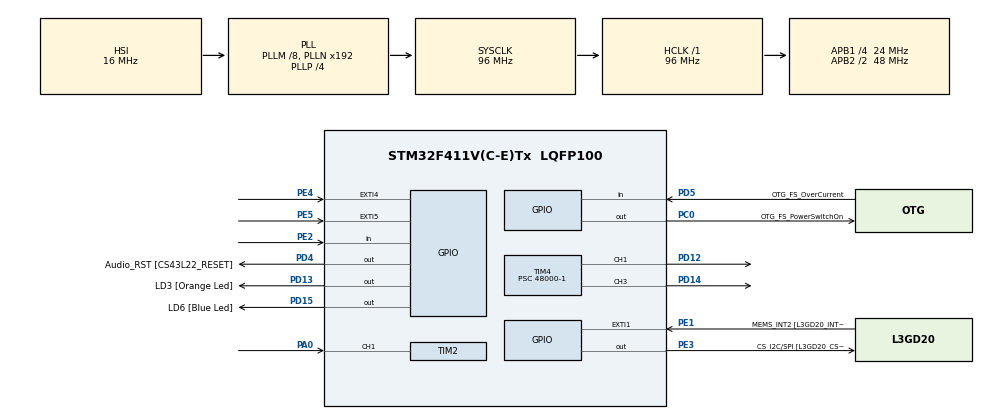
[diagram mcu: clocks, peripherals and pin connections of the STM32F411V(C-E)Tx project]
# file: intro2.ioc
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Mcu.Family=STM32F4
Mcu.Name=STM32F411V(C-E)Tx
Mcu.Package=LQFP100
NVIC.PriorityGroup=NVIC_PRIORITYGROUP_0
NVIC.TIM2_IRQn=true\:0\:0\:false\:false\:true\:true\:true\:true
NVIC.TIM4_IRQn=true\:0\:0\:false\:false\:true\:true\:true\:true
PA0-WKUP.Signal=S_TIM2_CH1_ETR
PA10.GPIO_Label=OTG_FS_ID
PA10.Signal=USB_OTG_FS_ID
PA11.GPIO_Label=OTG_FS_DM
PA11.Signal=USB_OTG_FS_DM
PA12.GPIO_Label=OTG_FS_DP
PA12.Signal=USB_OTG_FS_DP
PA13.GPIO_Label=SWDIO
PA13.Signal=SYS_JTMS-SWDIO
PA14.GPIO_Label=SWCLK
PA14.Signal=SYS_JTCK-SWCLK
PA4.GPIO_Label=I2S3_WS [CS43L22_LRCK]
PA4.GPIO_Mode=GPIO_MODE_AF_PP
PA4.GPIO_PuPd=GPIO_NOPULL
PA4.GPIO_Speed=GPIO_SPEED_FREQ_LOW
PA4.Signal=I2S3_WS
PA5.GPIO_Label=SPI1_SCK [L3GD20_SC/SPC]
PA5.Signal=SPI1_SCK
PA6.GPIO_Label=SPI1_MISO [L3GD20_AS0/SDO]
PA6.Signal=SPI1_MISO
PA7.GPIO_Label=SPI1_MOSI [L3GD20_SDA/SDI/SDO]
PA7.Signal=SPI1_MOSI
PA9.GPIO_Label=VBUS_FS
PA9.Signal=USB_OTG_FS_VBUS
PB10.GPIO_Label=CLK_IN [MP45DT02_CLK]
PB10.Signal=I2S2_CK
PB12.Signal=I2S2_WS
PB3.GPIO_Label=SWO
PB3.Signal=SYS_JTDO-SWO
PB6.GPIO_Label=Audio_SCL [CS43L22_SCL]
PB6.GPIO_Mode=GPIO_MODE_AF_OD
PB6.GPIO_PuPd=GPIO_NOPULL
PB6.GPIO_Speed=GPIO_SPEED_FREQ_LOW
PB6.Signal=I2C1_SCL
PB9.GPIO_Label=Audio_SDA [CS43L22_SDA]
PB9.GPIO_Mode=GPIO_MODE_AF_OD
PB9.GPIO_PuPd=GPIO_NOPULL
PB9.GPIO_Speed=GPIO_SPEED_FREQ_LOW
PB9.Signal=I2C1_SDA
PC0.GPIO_Label=OTG_FS_PowerSwitchOn
PC0.PinState=GPIO_PIN_SET
PC0.Signal=GPIO_Output
PC10.GPIO_Label=I2S3_SCK [CS43L22_SCLK]
PC10.GPIO_Mode=GPIO_MODE_AF_PP
PC10.GPIO_PuPd=GPIO_NOPULL
PC10.GPIO_Speed=GPIO_SPEED_FREQ_LOW
PC10.Signal=I2S3_CK
PC12.GPIO_Label=I2S3_SD [CS43L22_SDIN]
PC12.GPIO_Mode=GPIO_MODE_AF_PP
PC12.GPIO_PuPd=GPIO_NOPULL
PC12.GPIO_Speed=GPIO_SPEED_FREQ_LOW
PC12.Signal=I2S3_SD
PC14-OSC32_IN.GPIO_Label=PC14-OSC32_IN
PC14-OSC32_IN.Signal=RCC_OSC32_IN
PC15-OSC32_OUT.GPIO_Label=PC15-OSC32_OUT
PC15-OSC32_OUT.Signal=RCC_OSC32_OUT
PC3.GPIO_Label=PDM_OUT [MP45DT02_DOUT]
PC3.Signal=I2S2_SD
PC7.GPIO_Label=I2S3_MCK [CS43L22_MCLK]
PC7.GPIO_Mode=GPIO_MODE_AF_PP
PC7.GPIO_PuPd=GPIO_NOPULL
PC7.GPIO_Speed=GPIO_SPEED_FREQ_LOW
PC7.Signal=I2S3_MCK
PD12.Signal=S_TIM4_CH1
PD13.GPIO_Label=LD3 [Orange Led]
PD13.GPIO_PuPd=GPIO_NOPULL
PD13.GPIO_Speed=GPIO_SPEED_FREQ_LOW
PD13.Signal=GPIO_Output
PD14.Signal=S_TIM4_CH3
PD15.GPIO_Label=LD6 [Blue Led]
PD15.GPIO_PuPd=GPIO_NOPULL
PD15.GPIO_Speed=GPIO_SPEED_FREQ_LOW
PD15.Signal=GPIO_Output
PD4.GPIO_Label=Audio_RST [CS43L22_RESET]
PD4.Signal=GPIO_Output
PD5.GPIO_Label=OTG_FS_OverCurrent
PD5.Signal=GPIO_Input
PE1.GPIO_Label=MEMS_INT2 [L3GD20_INT2]
PE1.GPIO_ModeDefaultEXTI=GPIO_MODE_EVT_RISING
PE1.Signal=GPXTI1
PE2.Signal=GPIO_Input
PE3.GPIO_Label=CS_I2C/SPI [L3GD20_CS_I2C/SPI]
PE3.Signal=GPIO_Output
PE4.GPIO_ModeDefaultEXTI=GPIO_MODE_EVT_RISING
PE4.Signal=GPXTI4
PE5.GPIO_ModeDefaultEXTI=GPIO_MODE_EVT_RISING
PE5.Signal=GPXTI5
PH0\ -\ OSC_IN.GPIO_Label=PH0-OSC_IN
PH0\ -\ OSC_IN.Signal=RCC_OSC_IN
PH1\ -\ OSC_OUT.GPIO_Label=PH1-OSC_OUT
PH1\ -\ OSC_OUT.Signal=RCC_OSC_OUT
ProjectManager.HeapSize=0x200
ProjectManager.StackSize=0x400
ProjectManager.TargetToolchain=STM32CubeIDE
RCC.48MHZClocksFreq_Value=48000000
RCC.AHBFreq_Value=96000000
RCC.APB1CLKDivider=RCC_HCLK_DIV4
RCC.APB1Freq_Value=24000000
RCC.APB1TimFreq_Value=48000000
RCC.APB2CLKDivider=RCC_HCLK_DIV2
RCC.APB2Freq_Value=48000000
RCC.APB2TimFreq_Value=96000000
RCC.CortexFreq_Value=96000000
RCC.HCLKFreq_Value=96000000
RCC.HSE_VALUE=8000000
RCC.HSI_VALUE=16000000
RCC.LSE_VALUE=32768
RCC.PLLI2SM=5
RCC.PLLI2SN=200
RCC.PLLM=8
RCC.PLLP=RCC_PLLP_DIV4
RCC.PLLQ=8
RCC.SYSCLKFreq_VALUE=96000000
RCC.SYSCLKSource=RCC_SYSCLKSOURCE_PLLCLK
RCC.VCOOutputFreq_Value=384000000
SH.S_TIM2_CH1_ETR.0=TIM2_CH1,Input_Capture1_from_TI1
SH.S_TIM4_CH1.0=TIM4_CH1,Output Compare1 CH1
SH.S_TIM4_CH3.0=TIM4_CH3,PWM Generation3 CH3
TIM2.Channel-Input_Capture1_from_TI1=TIM_CHANNEL_1
TIM2.ICFilter_CH1=15
TIM2.ICPolarity_CH1=TIM_INPUTCHANNELPOLARITY_BOTHEDGE
TIM2.Period=10000
TIM2.Prescaler=48000-1
TIM4.AutoReloadPreload=TIM_AUTORELOAD_PRELOAD_ENABLE
TIM4.Channel-Output\ Compare1\ CH1=TIM_CHANNEL_1
TIM4.Channel-PWM\ Generation3\ CH3=TIM_CHANNEL_3
TIM4.OC1Preload=DISABLE
TIM4.OCMode_1=TIM_OCMODE_ACTIVE
TIM4.OCPolarity_1=TIM_OCPOLARITY_HIGH
TIM4.Period=1000
TIM4.Prescaler=48000-1
TIM4.Pulse-Output\ Compare1\ CH1=250
TIM4.Pulse-PWM\ Generation3\ CH3=250
VP_TIM2_VS_ClockSourceINT.Mode=Internal
VP_TIM4_VS_ClockSourceINT.Mode=Internal
board=STM32F411E-DISCO

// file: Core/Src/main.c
/* USER CODE BEGIN Header */
/**
  ******************************************************************************
  * @file           : main.c
  * @brief          : Main program body
  ******************************************************************************
  * @attention
  * 	THE PROGRAMME RETURNS BUTTON PRESS TIME IN ms
  *
  * Copyright (c) 2024 STMicroelectronics.
  * All rights reserved.
  *
  * This software is licensed under terms that can be found in the LICENSE file
  * in the root directory of this software component.
  * If no LICENSE file comes with this software, it is provided AS-IS.
  *
  ******************************************************************************
  */
/* USER CODE END Header */
#include "main.h"

/* USER CODE BEGIN Includes */
#include <stdio.h>
/* USER CODE END Includes */

TIM_HandleTypeDef htim2;
TIM_HandleTypeDef htim4;

void SystemClock_Config(void);
static void MX_GPIO_Init(void);
static void MX_TIM4_Init(void);
static void MX_TIM2_Init(void);
/* USER CODE BEGIN PFP */
extern void initialise_monitor_handles(void);
/* USER CODE END PFP */

int main(void)
{

  /* USER CODE BEGIN 1 */
	initialise_monitor_handles();
printf("test\n");
  /* USER CODE END 1 */

  /* MCU Configuration--------------------------------------------------------*/

  /* Reset of all peripherals, Initializes the Flash interface and the Systick. */
  HAL_Init();

  /* Configure the system clock */
  SystemClock_Config();

  /* Initialize all configured peripherals */
  MX_GPIO_Init();
  MX_TIM4_Init();
  MX_TIM2_Init();
  /* USER CODE BEGIN 2 */
  	  HAL_TIM_Base_Start_IT(&htim4);
  	  HAL_TIM_OC_Start(&htim4, TIM_CHANNEL_1);
  	  HAL_TIM_PWM_Start_IT(&htim4, TIM_CHANNEL_3);
  	  HAL_TIM_IC_Start_IT(&htim2, TIM_CHANNEL_1);

  /* USER CODE END 2 */

  /* Infinite loop */
  while (1)
  {

  }
}

void SystemClock_Config(void)
{
  RCC_OscInitTypeDef RCC_OscInitStruct = {0};
  RCC_ClkInitTypeDef RCC_ClkInitStruct = {0};

  /** Configure the main internal regulator output voltage
  */
  __HAL_RCC_PWR_CLK_ENABLE();
  __HAL_PWR_VOLTAGESCALING_CONFIG(PWR_REGULATOR_VOLTAGE_SCALE1);

  /** Initializes the RCC Oscillators according to the specified parameters
  * in the RCC_OscInitTypeDef structure.
  */
  RCC_OscInitStruct.OscillatorType = RCC_OSCILLATORTYPE_HSI;
  RCC_OscInitStruct.HSIState = RCC_HSI_ON;
  RCC_OscInitStruct.HSICalibrationValue = RCC_HSICALIBRATION_DEFAULT;
  RCC_OscInitStruct.PLL.PLLState = RCC_PLL_ON;
  RCC_OscInitStruct.PLL.PLLSource = RCC_PLLSOURCE_HSI;
  RCC_OscInitStruct.PLL.PLLM = 8;
  RCC_OscInitStruct.PLL.PLLN = 192;
  RCC_OscInitStruct.PLL.PLLP = RCC_PLLP_DIV4;
  RCC_OscInitStruct.PLL.PLLQ = 8;
  if (HAL_RCC_OscConfig(&RCC_OscInitStruct) != HAL_OK)
  {
    Error_Handler();
  }

  /** Initializes the CPU, AHB and APB buses clocks
  */
  RCC_ClkInitStruct.ClockType = RCC_CLOCKTYPE_HCLK|RCC_CLOCKTYPE_SYSCLK
                              |RCC_CLOCKTYPE_PCLK1|RCC_CLOCKTYPE_PCLK2;
  RCC_ClkInitStruct.SYSCLKSource = RCC_SYSCLKSOURCE_PLLCLK;
  RCC_ClkInitStruct.AHBCLKDivider = RCC_SYSCLK_DIV1;
  RCC_ClkInitStruct.APB1CLKDivider = RCC_HCLK_DIV4;
  RCC_ClkInitStruct.APB2CLKDivider = RCC_HCLK_DIV2;

  if (HAL_RCC_ClockConfig(&RCC_ClkInitStruct, FLASH_LATENCY_3) != HAL_OK)
  {
    Error_Handler();
  }
}

static void MX_TIM2_Init(void)
{

  TIM_ClockConfigTypeDef sClockSourceConfig = {0};
  TIM_MasterConfigTypeDef sMasterConfig = {0};
  TIM_IC_InitTypeDef sConfigIC = {0};

  htim2.Instance = TIM2;
  htim2.Init.Prescaler = 48000-1;
  htim2.Init.CounterMode = TIM_COUNTERMODE_UP;
  htim2.Init.Period = 10000;
  htim2.Init.ClockDivision = TIM_CLOCKDIVISION_DIV1;
  htim2.Init.AutoReloadPreload = TIM_AUTORELOAD_PRELOAD_DISABLE;
  if (HAL_TIM_Base_Init(&htim2) != HAL_OK)
  {
    Error_Handler();
  }
  sClockSourceConfig.ClockSource = TIM_CLOCKSOURCE_INTERNAL;
  if (HAL_TIM_ConfigClockSource(&htim2, &sClockSourceConfig) != HAL_OK)
  {
    Error_Handler();
  }
  if (HAL_TIM_IC_Init(&htim2) != HAL_OK)
  {
    Error_Handler();
  }
  sMasterConfig.MasterOutputTrigger = TIM_TRGO_RESET;
  sMasterConfig.MasterSlaveMode = TIM_MASTERSLAVEMODE_DISABLE;
  if (HAL_TIMEx_MasterConfigSynchronization(&htim2, &sMasterConfig) != HAL_OK)
  {
    Error_Handler();
  }
  sConfigIC.ICPolarity = TIM_INPUTCHANNELPOLARITY_BOTHEDGE;
  sConfigIC.ICSelection = TIM_ICSELECTION_DIRECTTI;
  sConfigIC.ICPrescaler = TIM_ICPSC_DIV1;
  sConfigIC.ICFilter = 15;
  if (HAL_TIM_IC_ConfigChannel(&htim2, &sConfigIC, TIM_CHANNEL_1) != HAL_OK)
  {
    Error_Handler();
  }

}

static void MX_TIM4_Init(void)
{

  TIM_ClockConfigTypeDef sClockSourceConfig = {0};
  TIM_MasterConfigTypeDef sMasterConfig = {0};
  TIM_OC_InitTypeDef sConfigOC = {0};

  htim4.Instance = TIM4;
  htim4.Init.Prescaler = 48000-1;
  htim4.Init.CounterMode = TIM_COUNTERMODE_UP;
  htim4.Init.Period = 1000;
  htim4.Init.ClockDivision = TIM_CLOCKDIVISION_DIV1;
  htim4.Init.AutoReloadPreload = TIM_AUTORELOAD_PRELOAD_ENABLE;
  if (HAL_TIM_Base_Init(&htim4) != HAL_OK)
  {
    Error_Handler();
  }
  sClockSourceConfig.ClockSource = TIM_CLOCKSOURCE_INTERNAL;
  if (HAL_TIM_ConfigClockSource(&htim4, &sClockSourceConfig) != HAL_OK)
  {
    Error_Handler();
  }
  if (HAL_TIM_OC_Init(&htim4) != HAL_OK)
  {
    Error_Handler();
  }
  if (HAL_TIM_PWM_Init(&htim4) != HAL_OK)
  {
    Error_Handler();
  }
  sMasterConfig.MasterOutputTrigger = TIM_TRGO_RESET;
  sMasterConfig.MasterSlaveMode = TIM_MASTERSLAVEMODE_DISABLE;
  if (HAL_TIMEx_MasterConfigSynchronization(&htim4, &sMasterConfig) != HAL_OK)
  {
    Error_Handler();
  }
  sConfigOC.OCMode = TIM_OCMODE_ACTIVE;
  sConfigOC.Pulse = 250;
  sConfigOC.OCPolarity = TIM_OCPOLARITY_HIGH;
  sConfigOC.OCFastMode = TIM_OCFAST_DISABLE;
  if (HAL_TIM_OC_ConfigChannel(&htim4, &sConfigOC, TIM_CHANNEL_1) != HAL_OK)
  {
    Error_Handler();
  }
  sConfigOC.OCMode = TIM_OCMODE_PWM1;
  if (HAL_TIM_PWM_ConfigChannel(&htim4, &sConfigOC, TIM_CHANNEL_3) != HAL_OK)
  {
    Error_Handler();
  }
  HAL_TIM_MspPostInit(&htim4);

}

static void MX_GPIO_Init(void)
{
  GPIO_InitTypeDef GPIO_InitStruct = {0};

  /* GPIO Ports Clock Enable */
  __HAL_RCC_GPIOE_CLK_ENABLE();
  __HAL_RCC_GPIOC_CLK_ENABLE();
  __HAL_RCC_GPIOH_CLK_ENABLE();
  __HAL_RCC_GPIOA_CLK_ENABLE();
  __HAL_RCC_GPIOB_CLK_ENABLE();
  __HAL_RCC_GPIOD_CLK_ENABLE();

  /*Configure GPIO pin Output Level */
  HAL_GPIO_WritePin(CS_I2C_SPI_GPIO_Port, CS_I2C_SPI_Pin, GPIO_PIN_RESET);

  /*Configure GPIO pin Output Level */
  HAL_GPIO_WritePin(OTG_FS_PowerSwitchOn_GPIO_Port, OTG_FS_PowerSwitchOn_Pin, GPIO_PIN_SET);

  /*Configure GPIO pin Output Level */
  HAL_GPIO_WritePin(GPIOD, LD3_Pin|LD6_Pin|Audio_RST_Pin, GPIO_PIN_RESET);

  /*Configure GPIO pin : PE2 */
  GPIO_InitStruct.Pin = GPIO_PIN_2;
  GPIO_InitStruct.Mode = GPIO_MODE_INPUT;
  GPIO_InitStruct.Pull = GPIO_NOPULL;
  HAL_GPIO_Init(GPIOE, &GPIO_InitStruct);

  /*Configure GPIO pin : CS_I2C_SPI_Pin */
  GPIO_InitStruct.Pin = CS_I2C_SPI_Pin;
  GPIO_InitStruct.Mode = GPIO_MODE_OUTPUT_PP;
  GPIO_InitStruct.Pull = GPIO_NOPULL;
  GPIO_InitStruct.Speed = GPIO_SPEED_FREQ_LOW;
  HAL_GPIO_Init(CS_I2C_SPI_GPIO_Port, &GPIO_InitStruct);

  /*Configure GPIO pins : PE4 PE5 MEMS_INT2_Pin */
  GPIO_InitStruct.Pin = GPIO_PIN_4|GPIO_PIN_5|MEMS_INT2_Pin;
  GPIO_InitStruct.Mode = GPIO_MODE_EVT_RISING;
  GPIO_InitStruct.Pull = GPIO_NOPULL;
  HAL_GPIO_Init(GPIOE, &GPIO_InitStruct);

  /*Configure GPIO pin : OTG_FS_PowerSwitchOn_Pin */
  GPIO_InitStruct.Pin = OTG_FS_PowerSwitchOn_Pin;
  GPIO_InitStruct.Mode = GPIO_MODE_OUTPUT_PP;
  GPIO_InitStruct.Pull = GPIO_NOPULL;
  GPIO_InitStruct.Speed = GPIO_SPEED_FREQ_LOW;
  HAL_GPIO_Init(OTG_FS_PowerSwitchOn_GPIO_Port, &GPIO_InitStruct);

  /*Configure GPIO pin : PDM_OUT_Pin */
  GPIO_InitStruct.Pin = PDM_OUT_Pin;
  GPIO_InitStruct.Mode = GPIO_MODE_AF_PP;
  GPIO_InitStruct.Pull = GPIO_NOPULL;
  GPIO_InitStruct.Speed = GPIO_SPEED_FREQ_LOW;
  GPIO_InitStruct.Alternate = GPIO_AF5_SPI2;
  HAL_GPIO_Init(PDM_OUT_GPIO_Port, &GPIO_InitStruct);

  /*Configure GPIO pin : I2S3_WS_Pin */
  GPIO_InitStruct.Pin = I2S3_WS_Pin;
  GPIO_InitStruct.Mode = GPIO_MODE_AF_PP;
  GPIO_InitStruct.Pull = GPIO_NOPULL;
  GPIO_InitStruct.Speed = GPIO_SPEED_FREQ_LOW;
  GPIO_InitStruct.Alternate = GPIO_AF6_SPI3;
  HAL_GPIO_Init(I2S3_WS_GPIO_Port, &GPIO_InitStruct);

  /*Configure GPIO pins : SPI1_SCK_Pin SPI1_MISO_Pin SPI1_MOSI_Pin */
  GPIO_InitStruct.Pin = SPI1_SCK_Pin|SPI1_MISO_Pin|SPI1_MOSI_Pin;
  GPIO_InitStruct.Mode = GPIO_MODE_AF_PP;
  GPIO_InitStruct.Pull = GPIO_NOPULL;
  GPIO_InitStruct.Speed = GPIO_SPEED_FREQ_VERY_HIGH;
  GPIO_InitStruct.Alternate = GPIO_AF5_SPI1;
  HAL_GPIO_Init(GPIOA, &GPIO_InitStruct);

  /*Configure GPIO pins : CLK_IN_Pin PB12 */
  GPIO_InitStruct.Pin = CLK_IN_Pin|GPIO_PIN_12;
  GPIO_InitStruct.Mode = GPIO_MODE_AF_PP;
  GPIO_InitStruct.Pull = GPIO_NOPULL;
  GPIO_InitStruct.Speed = GPIO_SPEED_FREQ_LOW;
  GPIO_InitStruct.Alternate = GPIO_AF5_SPI2;
  HAL_GPIO_Init(GPIOB, &GPIO_InitStruct);

  /*Configure GPIO pins : LD3_Pin LD6_Pin Audio_RST_Pin */
  GPIO_InitStruct.Pin = LD3_Pin|LD6_Pin|Audio_RST_Pin;
  GPIO_InitStruct.Mode = GPIO_MODE_OUTPUT_PP;
  GPIO_InitStruct.Pull = GPIO_NOPULL;
  GPIO_InitStruct.Speed = GPIO_SPEED_FREQ_LOW;
  HAL_GPIO_Init(GPIOD, &GPIO_InitStruct);

  /*Configure GPIO pins : I2S3_MCK_Pin I2S3_SCK_Pin I2S3_SD_Pin */
  GPIO_InitStruct.Pin = I2S3_MCK_Pin|I2S3_SCK_Pin|I2S3_SD_Pin;
  GPIO_InitStruct.Mode = GPIO_MODE_AF_PP;
  GPIO_InitStruct.Pull = GPIO_NOPULL;
  GPIO_InitStruct.Speed = GPIO_SPEED_FREQ_LOW;
  GPIO_InitStruct.Alternate = GPIO_AF6_SPI3;
  HAL_GPIO_Init(GPIOC, &GPIO_InitStruct);

  /*Configure GPIO pin : VBUS_FS_Pin */
  GPIO_InitStruct.Pin = VBUS_FS_Pin;
  GPIO_InitStruct.Mode = GPIO_MODE_INPUT;
  GPIO_InitStruct.Pull = GPIO_NOPULL;
  HAL_GPIO_Init(VBUS_FS_GPIO_Port, &GPIO_InitStruct);

  /*Configure GPIO pins : OTG_FS_ID_Pin OTG_FS_DM_Pin OTG_FS_DP_Pin */
  GPIO_InitStruct.Pin = OTG_FS_ID_Pin|OTG_FS_DM_Pin|OTG_FS_DP_Pin;
  GPIO_InitStruct.Mode = GPIO_MODE_AF_PP;
  GPIO_InitStruct.Pull = GPIO_NOPULL;
  GPIO_InitStruct.Speed = GPIO_SPEED_FREQ_VERY_HIGH;
  GPIO_InitStruct.Alternate = GPIO_AF10_OTG_FS;
  HAL_GPIO_Init(GPIOA, &GPIO_InitStruct);

  /*Configure GPIO pin : OTG_FS_OverCurrent_Pin */
  GPIO_InitStruct.Pin = OTG_FS_OverCurrent_Pin;
  GPIO_InitStruct.Mode = GPIO_MODE_INPUT;
  GPIO_InitStruct.Pull = GPIO_NOPULL;
  HAL_GPIO_Init(OTG_FS_OverCurrent_GPIO_Port, &GPIO_InitStruct);

  /*Configure GPIO pins : Audio_SCL_Pin Audio_SDA_Pin */
  GPIO_InitStruct.Pin = Audio_SCL_Pin|Audio_SDA_Pin;
  GPIO_InitStruct.Mode = GPIO_MODE_AF_OD;
  GPIO_InitStruct.Pull = GPIO_NOPULL;
  GPIO_InitStruct.Speed = GPIO_SPEED_FREQ_LOW;
  GPIO_InitStruct.Alternate = GPIO_AF4_I2C1;
  HAL_GPIO_Init(GPIOB, &GPIO_InitStruct);

}

/* USER CODE BEGIN 4 */
	void HAL_TIM_PeriodElapsedCallback(TIM_HandleTypeDef *htim)
	{
		if(htim = &htim4)
			HAL_GPIO_TogglePin(LD3_GPIO_Port, LD3_Pin);
	}
	uint32_t pulse_val;
	uint32_t increment, autoreload;
	void HAL_TIM_PWM_PulseFinishedCallback(TIM_HandleTypeDef *htim)
	{
		if(htim == &htim4)
		{

			autoreload = __HAL_TIM_GET_AUTORELOAD(&htim4);
			increment = autoreload * 0.01;

			pulse_val = __HAL_TIM_GET_COMPARE(&htim4, TIM_CHANNEL_3);
			pulse_val = pulse_val + increment;
			if(pulse_val>autoreload)
				pulse_val=0;
			__HAL_TIM_SET_COMPARE(&htim4, TIM_CHANNEL_3, pulse_val);
		}
	}

	uint32_t moment_wcisniecia, moment_zwolnienia;
	uint32_t numer_wyzwolenia_przerwania = 0;
	void HAL_TIM_IC_CaptureCallback(TIM_HandleTypeDef *htim)
	{
		if(htim == &htim2)
		{
			if(numer_wyzwolenia_przerwania == 0)
			{
				moment_wcisniecia = HAL_TIM_ReadCapturedValue(htim,TIM_CHANNEL_1);
			}
			if(numer_wyzwolenia_przerwania == 1)
			{
				moment_zwolnienia = HAL_TIM_ReadCapturedValue(htim,TIM_CHANNEL_1);
			}
			numer_wyzwolenia_przerwania++;
			if(numer_wyzwolenia_przerwania == 2)
			{
				printf("Czas wcisniecia przycisku; %d ms \n", moment_zwolnienia - moment_wcisniecia);
				numer_wyzwolenia_przerwania = 0;
			}

		}
	}
/* USER CODE END 4 */

void Error_Handler(void)
{
  __disable_irq();
  while (1)
  {
  }
}
